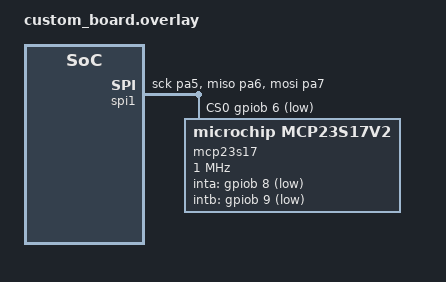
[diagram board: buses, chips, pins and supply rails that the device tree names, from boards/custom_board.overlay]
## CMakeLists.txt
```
# SPDX-License-Identifier: Apache-2.0 Copyright (c) 2022 Martin Schröder
# <info@swedishembedded.com> Consulting: https://swedishembedded.com/go
# Training: https://swedishembedded.com/tag/training

cmake_minimum_required(VERSION 3.13.1)
find_package(Zephyr REQUIRED HINTS $ENV{ZEPHYR_BASE})
project(sample)

target_sources(app PRIVATE src/main.c)

check_clang_tidy(app)
```

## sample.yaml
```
# SPDX-License-Identifier: Apache-2.0
# Copyright (c) 2022 Martin Schröder <info@swedishembedded.com>
# Consulting: https://swedishembedded.com/go
# Training: https://swedishembedded.com/tag/training

sample:
  name: MCP23S17
tests:
  samples.drivers.gpio.mcp23s17.release:
    platform_allow: custom_board
    build_only: true
    integration_platforms:
      - native_posix
      - custom_board
    extra_configs:
      - CONFIG_TESTBENCH_NUCLEO401RE_MCP23S17=y
```

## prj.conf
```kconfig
# SPDX-License-Identifier: Apache-2.0
# Copyright (c) 2022 Martin Schröder <info@swedishembedded.com>
# Consulting: https://swedishembedded.com/go
# Training: https://swedishembedded.com/tag/training

CONFIG_SHELL=y
CONFIG_GPIO_SHELL=y
CONFIG_LOG=y
CONFIG_SPI=y
CONFIG_SPI_STM32_INTERRUPT=n
CONFIG_GPIO_MCP23S17V2=y
```

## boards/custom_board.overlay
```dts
/* SPDX-License-Identifier: Apache-2.0 */
/**
 * Copyright 2022 Martin Schröder <info@swedishembedded.com>
 * Consulting: https://swedishembedded.com/go
 * Training: https://swedishembedded.com/tag/training
 */
&spi1 {
	pinctrl-0 = <&spi1_sck_pa5 &spi1_miso_pa6 &spi1_mosi_pa7>;
	pinctrl-names = "default";
	cs-gpios = <
		&gpiob 6 (GPIO_ACTIVE_LOW | GPIO_PULL_UP)
	>;
	status = "okay";

	mcp23s17: mcp23s17@0 {
		compatible = "microchip,mcp23s17v2";
		spi-max-frequency = <1000000>;
		reg = <0>;
		gpio-controller;
		#gpio-cells = <2>;
		ngpios = <16>;
		inta-gpios = <
			&gpiob 8 (GPIO_ACTIVE_LOW | GPIO_PULL_UP)
		>;
		intb-gpios = <
			&gpiob 9 (GPIO_ACTIVE_LOW | GPIO_PULL_UP)
		>;
		status = "okay";
	};
};
```

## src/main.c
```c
// SPDX-License-Identifier: Apache-2.0
/**
 * Copyright 2022 Martin Schröder <info@swedishembedded.com>
 * Consulting: https://swedishembedded.com/go
 * Training: https://swedishembedded.com/tag/training
 **/

#include <zephyr/device.h>
#include <zephyr/drivers/gpio.h>
#include <zephyr/drivers/sensor.h>
#include <zephyr/kernel.h>
#include <zephyr/shell/shell.h>

#include <example/example.h>
#include <project_version.h>

struct application {
	struct gpio_callback cb;
};

static struct application app;

static void irq_gpio(const struct device *dev, struct gpio_callback *cb, uint32_t pins)
{
	(void)cb;
	for (unsigned int c = 0; c < 8; c++) {
		if (((1 << c) & pins) == 0)
			continue;
		int r = gpio_pin_get(dev, c);

		gpio_pin_set(dev, c + 8, r);
		printk("%s: PIN: %d, Value: %d\n", dev->name, c, r);
	}
}

void main(void)
{
	printk("MCP23S17 Sample (v%s)\n", PROJECT_VERSION_STRING);

	const struct device *dev = device_get_binding("GPIO_E0");

	if (!dev) {
		printk("No device\n");
		return;
	}

	for (unsigned int c = 0; c < 8; c++) {
		if (gpio_pin_configure(dev, c, GPIO_INPUT) != 0) {
			printk("Error initializing INTA gpio\n");
			return;
		}
		if (gpio_pin_interrupt_configure(dev, c, GPIO_INT_EDGE_TO_ACTIVE) != 0) {
			printk("Error configuring interrupt on INTA gpio\n");
			return;
		}
	}

	for (unsigned int c = 8; c < 16; c++) {
		if (gpio_pin_configure(dev, c, GPIO_OUTPUT) != 0) {
			printk("Error initializing INTA gpio\n");
			return;
		}
	}

	gpio_init_callback(&app.cb, irq_gpio, 0x00ff);
	if (gpio_add_callback(dev, &app.cb) != 0) {
		printk("Error setting callback for GPIO\n");
		return;
	}
};
```
